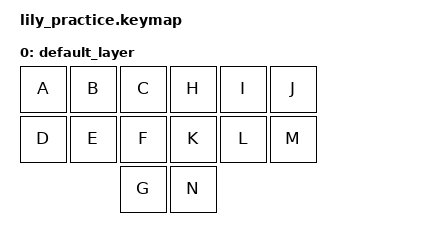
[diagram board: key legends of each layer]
#include <behaviors.dtsi>
#include <dt-bindings/zmk/keys.h>

/ {
    keymap {
        compatible = "zmk,keymap";

        default_layer { // Layer 0
            // -------------------------------------
            // |     A     |     B     |     C     |    H     |     I     |     J     |
            // |     D     |     E     |     F     |    K     |     L     |     M     |
            // |           |           |     G     |    N     |           |           |
            bindings = <
                &kp A    &kp B    &kp C    &kp H    &kp I    &kp J
                &kp D    &kp E    &kp F    &kp K    &kp L    &kp M
                                  &kp G    &kp N
            >;
        };
    };
 };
